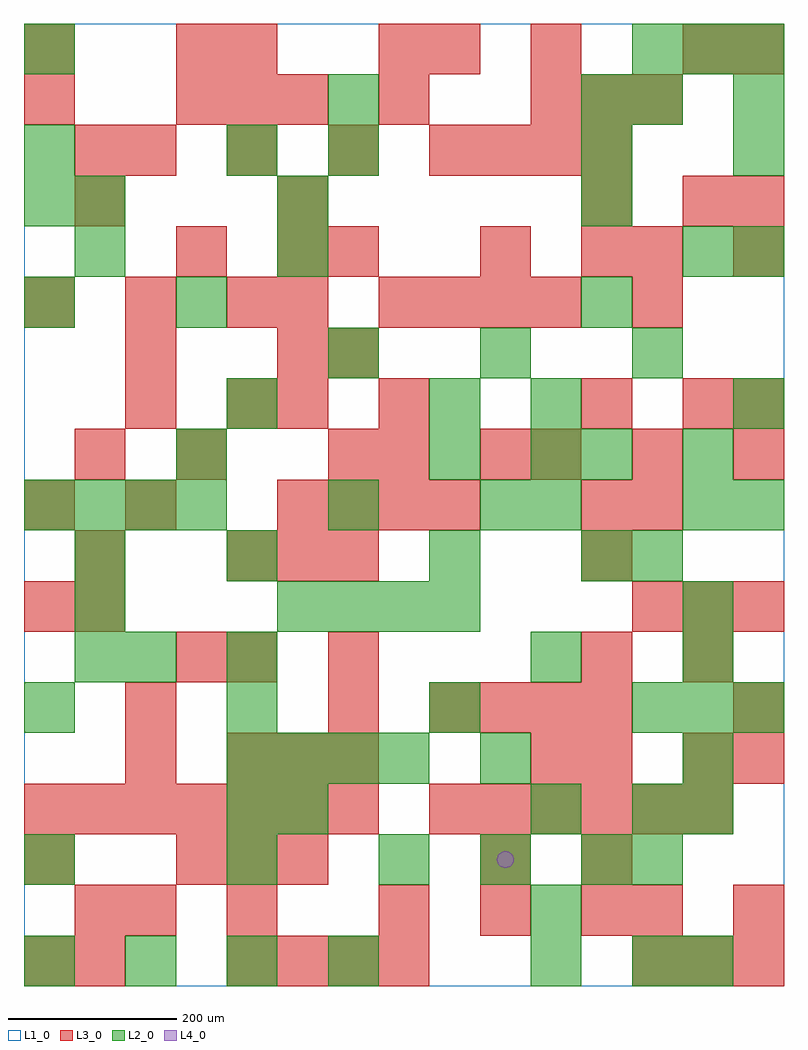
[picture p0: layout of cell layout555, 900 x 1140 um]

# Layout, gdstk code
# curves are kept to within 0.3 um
import gdstk
lib = gdstk.Library(unit=1e-6, precision=1e-09)
def R(c, l, rs):  # rectangles x0, y0, x1, y1
    for r in rs: c.add(gdstk.rectangle(r[:2], r[2:], *l))
def A(c, l, x, y, w, h, nx, ny, dx, dy):  # array of equal rectangles
    R(c, l, [(x+i*dx, y+j*dy, x+i*dx+w, y+j*dy+h) for i in range(nx) for j in range(ny)])
def P(c, l, *ps):  # polygons
    for p in ps: c.add(gdstk.Polygon(p, *l))
L1_0 = (1, 0)
L2_0 = (2, 0)
L3_0 = (3, 0)
L4_0 = (4, 0)

layout555 = lib.new_cell('layout555')
R(layout555, L1_0, [(0,0,900,1140)])
A(layout555, L2_0, 0, 0, 60, 60, 4, 1, 120, 0)
A(layout555, L2_0, 420, 120, 60, 60, 3, 1, 120, 0)
A(layout555, L2_0, 600, 180, 60, 60, 1, 3, 0, 180)
A(layout555, L2_0, 780, 180, 60, 60, 1, 5, 0, 60)
A(layout555, L2_0, 240, 240, 60, 60, 4, 1, 60, 0)
A(layout555, L2_0, 0, 300, 60, 60, 4, 1, 240, 0)
A(layout555, L2_0, 60, 360, 60, 60, 1, 3, 0, 60)
A(layout555, L2_0, 300, 420, 60, 60, 4, 1, 60, 0)
A(layout555, L2_0, 0, 540, 60, 60, 4, 1, 60, 0)
A(layout555, L2_0, 360, 720, 60, 60, 3, 1, 180, 0)
A(layout555, L2_0, 660, 900, 60, 60, 1, 3, 0, 60)
A(layout555, L2_0, 720, 1080, 60, 60, 3, 1, 60, 0)
R(layout555, L2_0, [(600,0,660,60), (720,0,780,60), (780,0,840,60), (600,60,660,120), (0,120,60,180), (240,120,300,180), (720,120,780,180), (240,180,300,240), (300,180,360,240), (720,180,780,240), (540,240,600,300), (840,300,900,360), (120,360,180,420), (240,360,300,420), (240,480,300,540), (480,480,540,540), (660,480,720,540), (720,480,780,540), (360,540,420,600), (540,540,600,600), (780,540,840,600), (840,540,900,600), (180,600,240,660), (480,600,540,660), (600,600,660,660), (660,600,720,660), (780,600,840,660), (240,660,300,720), (480,660,540,720), (600,660,660,720), (840,660,900,720), (0,780,60,840), (180,780,240,840), (660,780,720,840), (60,840,120,900), (300,840,360,900), (780,840,840,900), (840,840,900,900), (0,900,60,960), (60,900,120,960), (300,900,360,960), (0,960,60,1020), (240,960,300,1020), (360,960,420,1020), (840,960,900,1020), (360,1020,420,1080), (720,1020,780,1080), (840,1020,900,1080), (0,1080,60,1140)])
A(layout555, L3_0, 240, 0, 60, 60, 4, 1, 60, 0)
A(layout555, L3_0, 720, 0, 60, 60, 3, 2, 60, 420)
A(layout555, L3_0, 240, 60, 60, 60, 1, 3, 0, 300)
A(layout555, L3_0, 420, 60, 60, 60, 3, 1, 120, 0)
A(layout555, L3_0, 180, 120, 60, 60, 3, 2, 60, 900)
A(layout555, L3_0, 660, 120, 60, 60, 1, 4, 0, 120)
A(layout555, L3_0, 0, 180, 60, 60, 7, 1, 60, 0)
A(layout555, L3_0, 480, 180, 60, 60, 6, 1, 60, 0)
A(layout555, L3_0, 240, 240, 60, 60, 3, 2, 60, 240)
A(layout555, L3_0, 480, 300, 60, 60, 4, 1, 60, 0)
A(layout555, L3_0, 180, 360, 60, 60, 1, 4, 0, 240)
A(layout555, L3_0, 300, 540, 60, 60, 4, 1, 60, 0)
A(layout555, L3_0, 360, 600, 60, 60, 1, 3, 0, 120)
A(layout555, L3_0, 600, 600, 60, 60, 3, 1, 120, 0)
A(layout555, L3_0, 300, 660, 60, 60, 1, 5, 0, 60)
A(layout555, L3_0, 0, 780, 60, 60, 3, 1, 120, 0)
A(layout555, L3_0, 420, 780, 60, 60, 4, 1, 60, 0)
A(layout555, L3_0, 120, 960, 60, 60, 4, 1, 120, 0)
A(layout555, L3_0, 540, 960, 60, 60, 3, 1, 60, 0)
A(layout555, L3_0, 600, 1020, 60, 60, 3, 1, 60, 0)
R(layout555, L3_0, [(0,0,60,60), (60,0,120,60), (60,60,120,120), (120,60,180,120), (720,60,780,120), (840,60,900,120), (0,120,60,180), (540,120,600,180), (120,240,180,300), (600,240,660,300), (780,240,840,300), (840,240,900,300), (120,300,180,360), (360,300,420,360), (840,300,900,360), (360,360,420,420), (780,360,840,420), (0,420,60,480), (60,420,120,480), (60,480,120,540), (0,540,60,600), (120,540,180,600), (660,540,720,600), (720,540,780,600), (60,600,120,660), (420,600,480,660), (540,600,600,660), (120,660,180,720), (420,660,480,720), (660,660,720,720), (780,660,840,720), (840,660,900,720), (120,720,180,780), (720,780,780,840), (540,840,600,900), (660,840,720,900), (720,840,780,900), (840,840,900,900), (60,900,120,960), (660,900,720,960), (780,900,840,960), (840,900,900,960), (60,960,120,1020), (0,1020,60,1080), (420,1020,480,1080), (0,1080,60,1140), (240,1080,300,1140), (420,1080,480,1140), (480,1080,540,1140), (600,1080,660,1140), (780,1080,840,1140), (840,1080,900,1140)])
P(layout555, L4_0, [(580,150),(579.239,153.827),(577.071,157.071),(573.827,159.239),(570,160),(566.173,159.239),(562.929,157.071),(560.761,153.827),(560,150),(560.761,146.173),(562.929,142.929),(566.173,140.761),(570,140),(573.827,140.761),(577.071,142.929),(579.239,146.173)])

lib.write_gds('layout555.gds')
